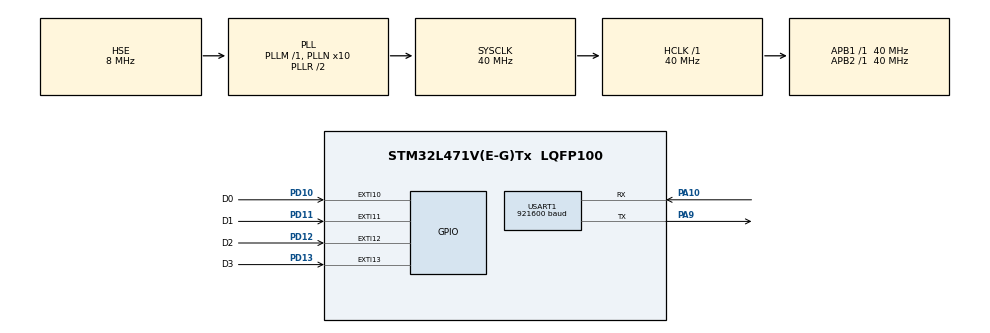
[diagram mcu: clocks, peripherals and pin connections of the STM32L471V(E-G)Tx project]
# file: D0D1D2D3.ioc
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FREERTOS.Tasks01=defaultTask,0,128,StartDefaultTask,Default,NULL,Dynamic,NULL,NULL;myTask02,-3,128,StartTask02,Default,NULL,Dynamic,NULL,NULL;myTask03,-3,128,StartTask03,Default,NULL,Dynamic,NULL,NULL
Mcu.Family=STM32L4
Mcu.Name=STM32L471V(E-G)Tx
Mcu.Package=LQFP100
NVIC.EXTI15_10_IRQn=true\:1\:0\:true\:false\:true\:false\:true
NVIC.PriorityGroup=NVIC_PRIORITYGROUP_4
NVIC.TIM1_UP_TIM16_IRQn=true\:0\:0\:false\:false\:true\:false\:false
NVIC.TimeBase=TIM1_UP_TIM16_IRQn
NVIC.TimeBaseIP=TIM1
NVIC.USART1_IRQn=true\:5\:0\:false\:false\:true\:true\:true
PA10.Mode=Asynchronous
PA10.Signal=USART1_RX
PA13\ (JTMS-SWDIO).Mode=Serial_Wire
PA13\ (JTMS-SWDIO).Signal=SYS_JTMS-SWDIO
PA14\ (JTCK-SWCLK).Mode=Serial_Wire
PA14\ (JTCK-SWCLK).Signal=SYS_JTCK-SWCLK
PA9.Mode=Asynchronous
PA9.Signal=USART1_TX
PD10.GPIO_Label=D0
PD10.GPIO_ModeDefaultEXTI=GPIO_MODE_IT_RISING
PD10.GPIO_PuPd=GPIO_PULLUP
PD10.Signal=GPXTI10
PD11.GPIO_Label=D1
PD11.GPIO_ModeDefaultEXTI=GPIO_MODE_IT_RISING
PD11.GPIO_PuPd=GPIO_PULLUP
PD11.Signal=GPXTI11
PD12.GPIO_Label=D2
PD12.GPIO_ModeDefaultEXTI=GPIO_MODE_IT_RISING
PD12.GPIO_PuPd=GPIO_PULLUP
PD12.Signal=GPXTI12
PD13.GPIO_Label=D3
PD13.GPIO_ModeDefaultEXTI=GPIO_MODE_IT_RISING
PD13.GPIO_PuPd=GPIO_PULLUP
PD13.Signal=GPXTI13
PH0-OSC_IN\ (PH0).Mode=HSE-External-Oscillator
PH0-OSC_IN\ (PH0).Signal=RCC_OSC_IN
PH1-OSC_OUT\ (PH1).Mode=HSE-External-Oscillator
PH1-OSC_OUT\ (PH1).Signal=RCC_OSC_OUT
ProjectManager.HeapSize=0x200
ProjectManager.StackSize=0x400
ProjectManager.TargetToolchain=MDK-ARM V5
RCC.ADCFreq_Value=32000000
RCC.AHBFreq_Value=40000000
RCC.APB1Freq_Value=40000000
RCC.APB1TimFreq_Value=40000000
RCC.APB2Freq_Value=40000000
RCC.APB2TimFreq_Value=40000000
RCC.CortexFreq_Value=40000000
RCC.HCLKFreq_Value=40000000
RCC.HSE_VALUE=8000000
RCC.HSI_VALUE=16000000
RCC.LSE_VALUE=32768
RCC.MSI_VALUE=4000000
RCC.PLLN=10
RCC.PLLSourceVirtual=RCC_PLLSOURCE_HSE
RCC.SYSCLKFreq_VALUE=40000000
RCC.SYSCLKSource=RCC_SYSCLKSOURCE_PLLCLK
RCC.VCOOutputFreq_Value=80000000
USART1.BaudRate=921600
USART1.VirtualMode-Asynchronous=VM_ASYNC
VP_FREERTOS_VS_ENABLE.Mode=Enabled
VP_SYS_VS_tim1.Mode=TIM1
board=custom

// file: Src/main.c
/* USER CODE BEGIN Header */
/**
  ******************************************************************************
  * @file           : main.c
  * @brief          : Main program body
  ******************************************************************************
  * This notice applies to any and all portions of this file
  * that are not between comment pairs USER CODE BEGIN and
  * USER CODE END. Other portions of this file, whether
  * inserted by the user or by software development tools
  * are owned by their respective copyright owners.
  *
  * Copyright (c) 2019 STMicroelectronics International N.V.
  * All rights reserved.
  *
  * Redistribution and use in source and binary forms, with or without
  * modification, are permitted, provided that the following conditions are met:
  *
  * 1. Redistribution of source code must retain the above copyright notice,
  *    this list of conditions and the following disclaimer.
  * 2. Redistributions in binary form must reproduce the above copyright notice,
  *    this list of conditions and the following disclaimer in the documentation
  *    and/or other materials provided with the distribution.
  * 3. Neither the name of STMicroelectronics nor the names of other
  *    contributors to this software may be used to endorse or promote products
  *    derived from this software without specific written permission.
  * 4. This software, including modifications and/or derivative works of this
  *    software, must execute solely and exclusively on microcontroller or
  *    microprocessor devices manufactured by or for STMicroelectronics.
  * 5. Redistribution and use of this software other than as permitted under
  *    this license is void and will automatically terminate your rights under
  *    this license.
  *
  * THIS SOFTWARE IS PROVIDED BY STMICROELECTRONICS AND CONTRIBUTORS "AS IS"
  * AND ANY EXPRESS, IMPLIED OR STATUTORY WARRANTIES, INCLUDING, BUT NOT
  * LIMITED TO, THE IMPLIED WARRANTIES OF MERCHANTABILITY, FITNESS FOR A
  * PARTICULAR PURPOSE AND NON-INFRINGEMENT OF THIRD PARTY INTELLECTUAL PROPERTY
  * RIGHTS ARE DISCLAIMED TO THE FULLEST EXTENT PERMITTED BY LAW. IN NO EVENT
  * SHALL STMICROELECTRONICS OR CONTRIBUTORS BE LIABLE FOR ANY DIRECT, INDIRECT,
  * INCIDENTAL, SPECIAL, EXEMPLARY, OR CONSEQUENTIAL DAMAGES (INCLUDING, BUT NOT
  * LIMITED TO, PROCUREMENT OF SUBSTITUTE GOODS OR SERVICES; LOSS OF USE, DATA,
  * OR PROFITS; OR BUSINESS INTERRUPTION) HOWEVER CAUSED AND ON ANY THEORY OF
  * LIABILITY, WHETHER IN CONTRACT, STRICT LIABILITY, OR TORT (INCLUDING
  * NEGLIGENCE OR OTHERWISE) ARISING IN ANY WAY OUT OF THE USE OF THIS SOFTWARE,
  * EVEN IF ADVISED OF THE POSSIBILITY OF SUCH DAMAGE.
  *
  ******************************************************************************
  */
/* USER CODE END Header */

#include "main.h"
#include "cmsis_os.h"
#include "usart.h"
#include "gpio.h"

void SystemClock_Config(void);
void MX_FREERTOS_Init(void);

int main(void)
{

  /* MCU Configuration--------------------------------------------------------*/

  /* Reset of all peripherals, Initializes the Flash interface and the Systick. */
  HAL_Init();

  /* Configure the system clock */
  SystemClock_Config();

  /* Initialize all configured peripherals */
  MX_GPIO_Init();
  MX_USART1_UART_Init();
  /* USER CODE BEGIN 2 */
  printf("\r\n%s\r\n",__FUNCTION__);
  /* USER CODE END 2 */

  /* Call init function for freertos objects (in freertos.c) */
  MX_FREERTOS_Init();

  /* Start scheduler */
  osKernelStart();

  /* We should never get here as control is now taken by the scheduler */

  /* Infinite loop */
  while (1)
  {

    /* USER CODE BEGIN 3 */
		  printf("\r\n%s\r\n",__FUNCTION__);
		  HAL_Delay(500);
  }
  /* USER CODE END 3 */
}

void SystemClock_Config(void)
{
  RCC_OscInitTypeDef RCC_OscInitStruct = {0};
  RCC_ClkInitTypeDef RCC_ClkInitStruct = {0};
  RCC_PeriphCLKInitTypeDef PeriphClkInit = {0};

  /**Initializes the CPU, AHB and APB busses clocks
  */
  RCC_OscInitStruct.OscillatorType = RCC_OSCILLATORTYPE_HSE;
  RCC_OscInitStruct.HSEState = RCC_HSE_ON;
  RCC_OscInitStruct.PLL.PLLState = RCC_PLL_ON;
  RCC_OscInitStruct.PLL.PLLSource = RCC_PLLSOURCE_HSE;
  RCC_OscInitStruct.PLL.PLLM = 1;
  RCC_OscInitStruct.PLL.PLLN = 10;
  RCC_OscInitStruct.PLL.PLLP = RCC_PLLP_DIV7;
  RCC_OscInitStruct.PLL.PLLQ = RCC_PLLQ_DIV2;
  RCC_OscInitStruct.PLL.PLLR = RCC_PLLR_DIV2;
  if (HAL_RCC_OscConfig(&RCC_OscInitStruct) != HAL_OK)
  {
    Error_Handler();
  }
  /**Initializes the CPU, AHB and APB busses clocks
  */
  RCC_ClkInitStruct.ClockType = RCC_CLOCKTYPE_HCLK|RCC_CLOCKTYPE_SYSCLK
                              |RCC_CLOCKTYPE_PCLK1|RCC_CLOCKTYPE_PCLK2;
  RCC_ClkInitStruct.SYSCLKSource = RCC_SYSCLKSOURCE_PLLCLK;
  RCC_ClkInitStruct.AHBCLKDivider = RCC_SYSCLK_DIV1;
  RCC_ClkInitStruct.APB1CLKDivider = RCC_HCLK_DIV1;
  RCC_ClkInitStruct.APB2CLKDivider = RCC_HCLK_DIV1;

  if (HAL_RCC_ClockConfig(&RCC_ClkInitStruct, FLASH_LATENCY_2) != HAL_OK)
  {
    Error_Handler();
  }
  PeriphClkInit.PeriphClockSelection = RCC_PERIPHCLK_USART1;
  PeriphClkInit.Usart1ClockSelection = RCC_USART1CLKSOURCE_PCLK2;
  if (HAL_RCCEx_PeriphCLKConfig(&PeriphClkInit) != HAL_OK)
  {
    Error_Handler();
  }
  /**Configure the main internal regulator output voltage
  */
  if (HAL_PWREx_ControlVoltageScaling(PWR_REGULATOR_VOLTAGE_SCALE1) != HAL_OK)
  {
    Error_Handler();
  }
}

/* USER CODE BEGIN 4 */
 void HAL_GPIO_EXTI_Callback(uint16_t GPIO_Pin)
{
	printf("\r\n%#x\r\n",GPIO_Pin);
	HAL_Delay(10);
	if(HAL_GPIO_ReadPin(GPIOD,GPIO_Pin)==1)//这句话+上一句非常重要！这个遥控器有bug 一旦按下4个中断同时过来！需要自己延时读一读真的高才可以
	switch(GPIO_Pin)
	{
		case GPIO_PIN_10:printf("GPIO_PIN_10\r\n");
			break;
		case GPIO_PIN_11:printf("GPIO_PIN_11\r\n");
			break;
		case GPIO_PIN_12:printf("GPIO_PIN_12\r\n");
			break;
		case GPIO_PIN_13:printf("GPIO_PIN_13\r\n");
			break;
		default:
			break;

	}
}
/* USER CODE END 4 */

void HAL_TIM_PeriodElapsedCallback(TIM_HandleTypeDef *htim)
{
  if (htim->Instance == TIM1) {
    HAL_IncTick();
  }
}

void Error_Handler(void)
{
}

/************************ (C) COPYRIGHT STMicroelectronics *****END OF FILE****/

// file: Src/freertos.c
/* USER CODE BEGIN Header */
/**
  ******************************************************************************
  * File Name          : freertos.c
  * Description        : Code for freertos applications
  ******************************************************************************
  * This notice applies to any and all portions of this file
  * that are not between comment pairs USER CODE BEGIN and
  * USER CODE END. Other portions of this file, whether
  * inserted by the user or by software development tools
  * are owned by their respective copyright owners.
  *
  * Copyright (c) 2019 STMicroelectronics International N.V.
  * All rights reserved.
  *
  * Redistribution and use in source and binary forms, with or without
  * modification, are permitted, provided that the following conditions are met:
  *
  * 1. Redistribution of source code must retain the above copyright notice,
  *    this list of conditions and the following disclaimer.
  * 2. Redistributions in binary form must reproduce the above copyright notice,
  *    this list of conditions and the following disclaimer in the documentation
  *    and/or other materials provided with the distribution.
  * 3. Neither the name of STMicroelectronics nor the names of other
  *    contributors to this software may be used to endorse or promote products
  *    derived from this software without specific written permission.
  * 4. This software, including modifications and/or derivative works of this
  *    software, must execute solely and exclusively on microcontroller or
  *    microprocessor devices manufactured by or for STMicroelectronics.
  * 5. Redistribution and use of this software other than as permitted under
  *    this license is void and will automatically terminate your rights under
  *    this license.
  *
  * THIS SOFTWARE IS PROVIDED BY STMICROELECTRONICS AND CONTRIBUTORS "AS IS"
  * AND ANY EXPRESS, IMPLIED OR STATUTORY WARRANTIES, INCLUDING, BUT NOT
  * LIMITED TO, THE IMPLIED WARRANTIES OF MERCHANTABILITY, FITNESS FOR A
  * PARTICULAR PURPOSE AND NON-INFRINGEMENT OF THIRD PARTY INTELLECTUAL PROPERTY
  * RIGHTS ARE DISCLAIMED TO THE FULLEST EXTENT PERMITTED BY LAW. IN NO EVENT
  * SHALL STMICROELECTRONICS OR CONTRIBUTORS BE LIABLE FOR ANY DIRECT, INDIRECT,
  * INCIDENTAL, SPECIAL, EXEMPLARY, OR CONSEQUENTIAL DAMAGES (INCLUDING, BUT NOT
  * LIMITED TO, PROCUREMENT OF SUBSTITUTE GOODS OR SERVICES; LOSS OF USE, DATA,
  * OR PROFITS; OR BUSINESS INTERRUPTION) HOWEVER CAUSED AND ON ANY THEORY OF
  * LIABILITY, WHETHER IN CONTRACT, STRICT LIABILITY, OR TORT (INCLUDING
  * NEGLIGENCE OR OTHERWISE) ARISING IN ANY WAY OUT OF THE USE OF THIS SOFTWARE,
  * EVEN IF ADVISED OF THE POSSIBILITY OF SUCH DAMAGE.
  *
  ******************************************************************************
  */
/* USER CODE END Header */

#include "FreeRTOS.h"
#include "task.h"
#include "main.h"
#include "cmsis_os.h"

osThreadId defaultTaskHandle;
osThreadId myTask02Handle;
osThreadId myTask03Handle;

void StartDefaultTask(void const * argument);
void StartTask02(void const * argument);
void StartTask03(void const * argument);

void MX_FREERTOS_Init(void); /* (MISRA C 2004 rule 8.1) */

void MX_FREERTOS_Init(void) {

  /* Create the thread(s) */
  /* definition and creation of defaultTask */
  osThreadDef(defaultTask, StartDefaultTask, osPriorityNormal, 0, 128);
  defaultTaskHandle = osThreadCreate(osThread(defaultTask), NULL);

  /* definition and creation of myTask02 */
  osThreadDef(myTask02, StartTask02, osPriorityIdle, 0, 128);
  myTask02Handle = osThreadCreate(osThread(myTask02), NULL);

  /* definition and creation of myTask03 */
  osThreadDef(myTask03, StartTask03, osPriorityIdle, 0, 128);
  myTask03Handle = osThreadCreate(osThread(myTask03), NULL);

}

void StartDefaultTask(void const * argument)
{

  /* USER CODE BEGIN StartDefaultTask */
  /* Infinite loop */
  for(;;)
  {
		printf("\r\n%s\r\n",__FUNCTION__);
		HAL_Delay(500);
		osDelay(1);
  }
  /* USER CODE END StartDefaultTask */
}

void StartTask02(void const * argument)
{
  for(;;)
  {
    osDelay(1);
  }
}

void StartTask03(void const * argument)
{
  for(;;)
  {
    osDelay(1);
  }
}

/************************ (C) COPYRIGHT STMicroelectronics *****END OF FILE****/
